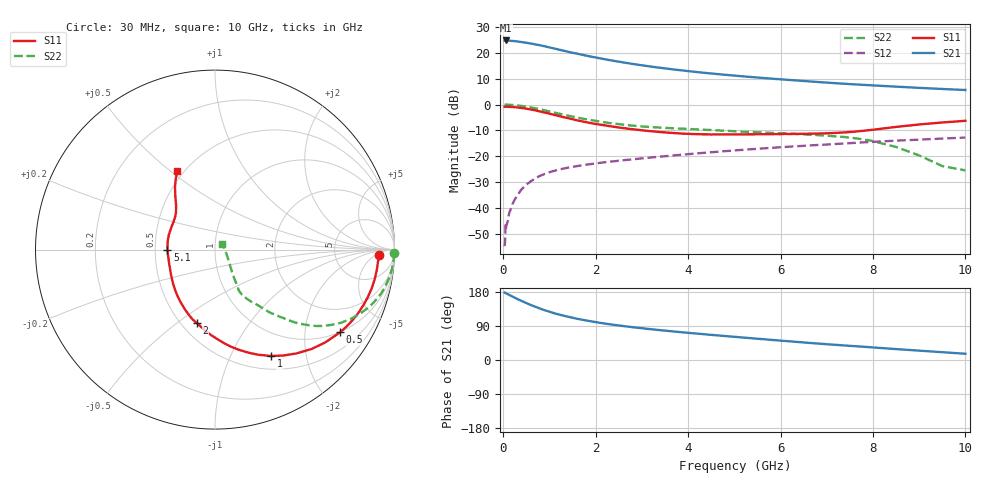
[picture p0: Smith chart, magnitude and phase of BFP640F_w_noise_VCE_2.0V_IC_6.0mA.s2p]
! Infineon Technologies  Discrete & RF Semiconductors
! BFP640F
! VCE =  2.0 V,  IC =  6.0 mA
! Common Emitter S-Parameters:  Apr 2013
# GHz  S  MA  R  50
!  f  S11  S21  S12  S22
! GHz  MAG  ANG  MAG  ANG  MAG  ANG  MAG  ANG
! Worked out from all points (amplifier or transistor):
!   99 points, 30 MHz to 10 GHz, reference 50 ohm
!   highest |S21| = 24.9 dB at 50 MHz (marker M1)
!   |S21| within 3 dB of that: start of sweep to 1.076 GHz
!   unconditionally stable (mu >= 1): 3.971 GHz to end of sweep
!   at 350 MHz: K = 0.09, MSG = 29.2 dB, |S12| = -34.0 dB
!   at 3.5 GHz: K = 0.96, MSG = 17.0 dB, |S12| = -20.0 dB
!   at 10 GHz: K = 1.09, MAG = 7.4 dB, |S12| = -12.8 dB
!   lowest NFmin = 0.54 dB at 450 MHz
!   S11 on the Smith chart (normalised r, x): 30 MHz: 19, -7; 500 MHz: 0.99, -3.03; 1 GHz: 0.67, -1.44; 2 GHz: 0.60, -0.60; 5.1 GHz: 0.58, -0.00; 10 GHz: 0.46, +0.53
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0.03  0.914 -2.0  17.35 178.0  0.0018 73.9  0.999 -1.2
0.04  0.913 -2.7  17.32 177.5  0.0022 87.1  0.9973 -1.6
0.05  0.9134 -3.4  17.57 177.0  0.0046 92.1  1 -2.1
0.12  0.9068 -8.4  17.53 172.3  0.0072 89.8  0.9934 -5.2
0.3  0.8831 -20.5  16.84 161.4  0.0169 80.7  0.9676 -12.8
0.5  0.8352 -33.5  15.82 150.3  0.0281 75.2  0.9143 -20.6
0.6  0.8041 -39.9  15.32 145.1  0.0328 71.3  0.8815 -24.1
0.8  0.7358 -51.8  14.16 135.5  0.0418 66.2  0.8111 -30.2
1  0.6692 -62.3  12.86 127.4  0.0489 61.9  0.7381 -35.2
1.1  0.6343 -67.5  12.3 123.5  0.052 60.3  0.704 -37.2
1.3  0.5742 -76.5  11.14 117.1  0.0575 57.2  0.6409 -40.4
1.5  0.5218 -84.8  10.14 111.5  0.0621 54.9  0.5862 -43.0
1.7  0.4753 -92.9  9.303 106.4  0.0665 53.3  0.5391 -45.0
2  0.422 -103.7  8.214 100.1  0.0725 51.7  0.485 -47.7
2.3  0.3832 -113.9  7.31 94.4  0.0782 50.2  0.4401 -50.0
2.6  0.351 -122.9  6.579 89.6  0.0835 49.2  0.4085 -51.5
3.4  0.2939 -144.0  5.183 78.7  0.0981 47.4  0.3582 -54.7
4.2  0.2681 -162.0  4.274 69.6  0.1135 45.5  0.3306 -56.7
5.1  0.2647 -179.9  3.592 60.2  0.1314 43.0  0.3025 -58.5
6.7  0.2739 151.6  2.793 44.4  0.1629 37.1  0.2593 -59.6
8.5  0.3697 126.7  2.234 28.8  0.2002 29.5  0.151 -52.0
10  0.4858 115.5  1.922 16.5  0.2302 22.4  0.0531 39.5
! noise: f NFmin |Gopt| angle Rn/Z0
0.45  0.54  0.33  8  0.09
0.9  0.55  0.33  19  0.1
1.5  0.59  0.31  27  0.1
1.9  0.61  0.29  43  0.11
2.4  0.65  0.27  56  0.11
3.5  0.75  0.23  79  0.13
5.5  0.97  0.18  155  0.16
10  1.63  0.43  -103  0.34
